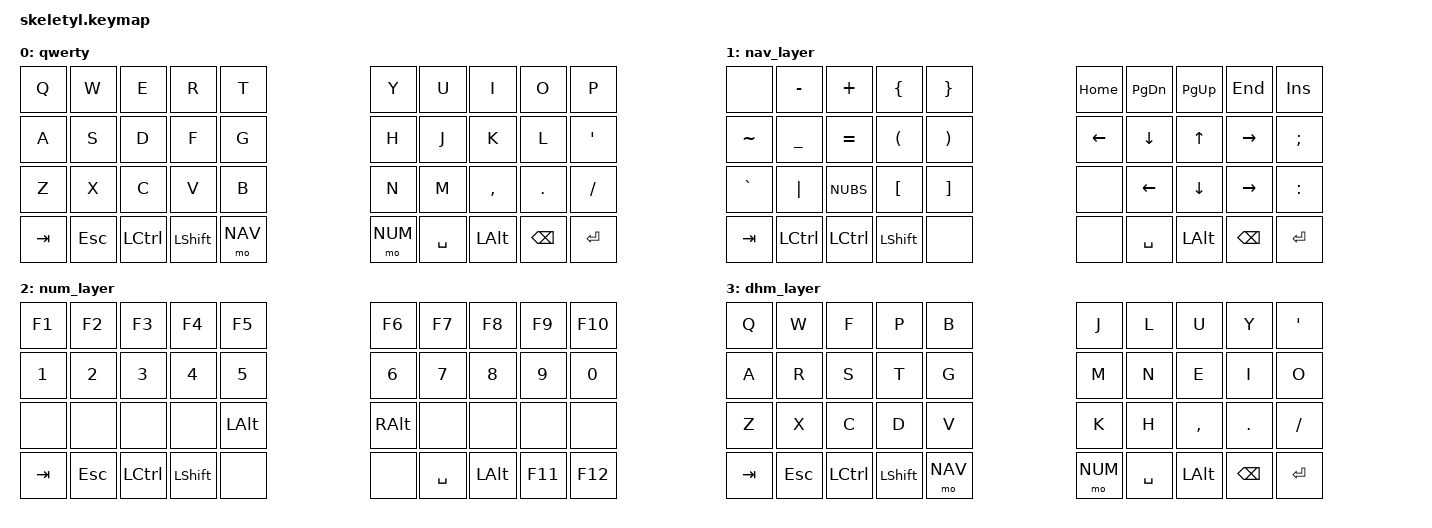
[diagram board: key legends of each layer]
#include <behaviors.dtsi>
#include <dt-bindings/zmk/keys.h>
#include <dt-bindings/zmk/bt.h>
#include <dt-bindings/zmk/outputs.h>

#define QWERTY  0
#define NAV     1
#define NUM     2
#define DHM     3

/ {
    keymap {
        compatible = "zmk,keymap";

        qwerty {
            bindings = <
    &kp Q       &kp W       &kp E       &kp R       &kp T                                   &kp Y           &kp U       &kp I       &kp O           &kp P
    &kp A       &kp S       &kp D       &kp F       &kp G                                   &kp H           &kp J       &kp K       &kp L           &kp SQT
    &kp Z       &kp X       &kp C       &kp V       &kp B                                   &kp N           &kp M       &kp COMMA   &kp DOT         &kp FSLH
                &kp TAB     &kp ESC     &kp LCTRL   &kp LSHFT   &mo NAV          &mo NUM    &kp SPACE       &kp LALT    &kp BSPC    &kp ENTER
            >;
        };

        nav_layer {
            bindings = <
    &none       &kp MINUS   &kp PLUS    &kp LBRC    &kp RBRC                                &kp HOME        &kp PG_DN   &kp PG_UP   &kp END     &kp INS
    &kp TILDE   &kp UNDER   &kp EQUAL   &kp LPAR    &kp RPAR                                &kp LEFT        &kp DOWN    &kp UP      &kp RIGHT   &kp SEMI
    &kp GRAVE   &kp PIPE    &kp NUBS    &kp LBKT    &kp RBKT                                &none           &kp LEFT    &kp DOWN    &kp RIGHT   &kp COLON
                &kp TAB     &kp LCTRL   &kp LCTRL   &kp LSHFT   &none           &none       &kp SPACE       &kp LALT    &kp BSPC    &kp ENTER
            >;
        };

        num_layer {
            bindings = <
    &kp F1      &kp F2      &kp F3      &kp F4  &kp F5                                      &kp F6          &kp F7      &kp F8      &kp F9      &kp F10
    &kp N1      &kp N2      &kp N3      &kp N4  &kp N5                                      &kp N6          &kp N7      &kp N8      &kp N9      &kp N0
    &none       &none       &none       &none   &kp LALT                                    &kp RALT        &none       &none       &none       &none
                &kp TAB     &kp ESC     &kp LCTRL   &kp LSHFT   &none           &none       &kp SPACE       &kp LALT    &kp F11     &kp F12
            >;
        };

        dhm_layer {
            bindings = <
    &kp Q       &kp W       &kp F       &kp P       &kp B                                   &kp J           &kp L       &kp U       &kp Y           &kp SQT
    &kp A       &kp R       &kp S       &kp T       &kp G                                   &kp M           &kp N       &kp E       &kp I           &kp O
    &kp Z       &kp X       &kp C       &kp D       &kp V                                   &kp K           &kp H       &kp COMMA   &kp DOT         &kp FSLH
                &kp TAB     &kp ESC     &kp LCTRL   &kp LSHFT   &mo NAV          &mo NUM    &kp SPACE       &kp LALT    &kp BSPC    &kp ENTER
            >;
        };
};
